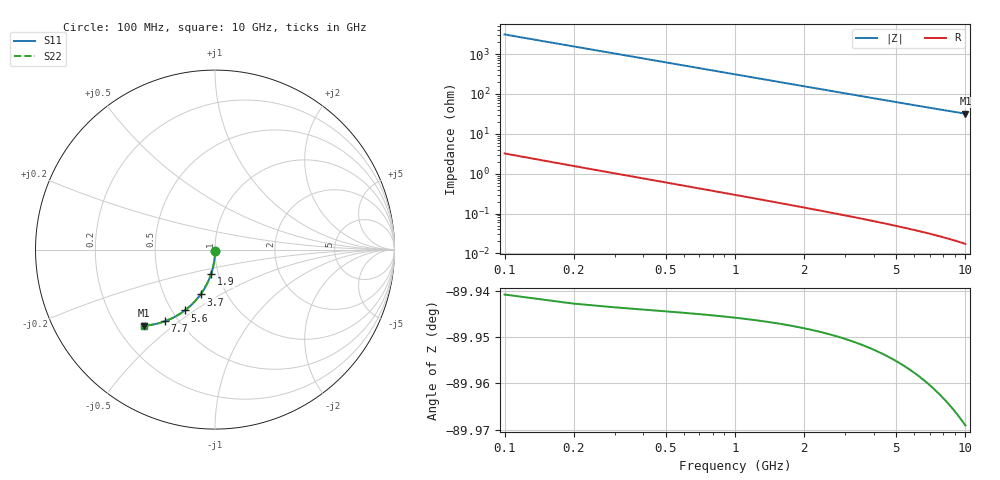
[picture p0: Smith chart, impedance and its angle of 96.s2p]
# Hz S RI R 50.00
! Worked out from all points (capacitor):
!   100 points, 100 MHz to 10 GHz, reference 50 ohm
!   read as one part in shunt: C = 512 fF near 100 MHz
!   lowest |Z| = 32.1 ohm at 10 GHz (marker M1)
!   S11 on the Smith chart (normalised r, x): 100 MHz: 1.00, -0.01; 1.9 GHz: 0.92, -0.26; 3.7 GHz: 0.76, -0.41; 5.6 GHz: 0.58, -0.46; 7.7 GHz: 0.42, -0.44; 10 GHz: 0.31, -0.40
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1e8  0.000554 -0.00739  0.9993 -0.00869  0.9993 -0.00869  0.000554 -0.00739
2e8  0.000357 -0.0148  0.9991 -0.0174  0.9991 -0.0174  0.000357 -0.0148
3e8  3.16e-05 -0.0222  0.9988 -0.0261  0.9988 -0.0261  3.16e-05 -0.0222
4e8  -0.000423 -0.0295  0.9983 -0.0347  0.9983 -0.0347  -0.000423 -0.0295
5e8  -0.00101 -0.0369  0.9977 -0.0434  0.9977 -0.0434  -0.00101 -0.0369
6e8  -0.00172 -0.0442  0.997 -0.052  0.997 -0.052  -0.00172 -0.0442
8e8  -0.00352 -0.0589  0.9951 -0.0693  0.9951 -0.0693  -0.00352 -0.0589
1.1e9  -0.00716 -0.0806  0.9914 -0.0949  0.9914 -0.0949  -0.00716 -0.0806
1.4e9  -0.0119 -0.1021  0.9866 -0.1203  0.9866 -0.1203  -0.0119 -0.1021
1.8e9  -0.0199 -0.1302  0.9785 -0.1535  0.9785 -0.1535  -0.0199 -0.1302
1.9e9  -0.0222 -0.1371  0.9762 -0.1617  0.9762 -0.1617  -0.0222 -0.1371
2.2e9  -0.0297 -0.1574  0.9686 -0.1859  0.9686 -0.1859  -0.0297 -0.1574
2.6e9  -0.0412 -0.1837  0.9569 -0.2174  0.9569 -0.2174  -0.0412 -0.1837
3.4e9  -0.069 -0.2327  0.9287 -0.2769  0.9287 -0.2769  -0.069 -0.2327
3.7e9  -0.0808 -0.2498  0.9167 -0.2979  0.9167 -0.2979  -0.0808 -0.2498
4.4e9  -0.1109 -0.2867  0.8861 -0.3439  0.8861 -0.3439  -0.1109 -0.2867
5.1e9  -0.1438 -0.319  0.8526 -0.3854  0.8526 -0.3854  -0.1438 -0.319
5.6e9  -0.1687 -0.3393  0.8272 -0.4122  0.8272 -0.4122  -0.1687 -0.3393
6.7e9  -0.2259 -0.3756  0.7688 -0.4631  0.7688 -0.4631  -0.2259 -0.3756
7.7e9  -0.2791 -0.3992  0.7144 -0.4999  0.7144 -0.4999  -0.2791 -0.3992
8.4e9  -0.316 -0.4108  0.6764 -0.5209  0.6764 -0.5209  -0.316 -0.4108
1e10  -0.3975 -0.424  0.5922 -0.5557  0.5922 -0.5557  -0.3975 -0.424
